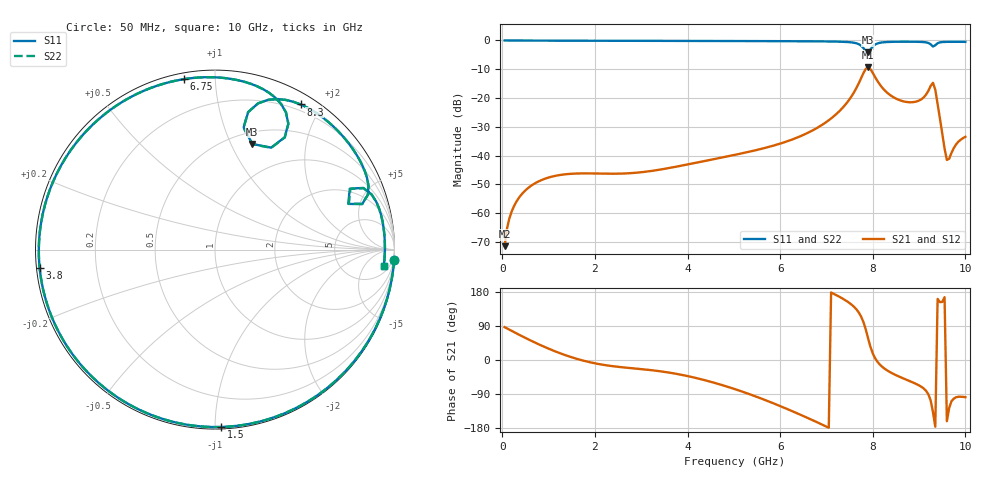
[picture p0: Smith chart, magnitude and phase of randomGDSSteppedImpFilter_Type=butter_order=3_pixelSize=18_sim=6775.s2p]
! freq	dB(S11)	phase(S11)	dB(S12)	phase(S12)
!  dB(S21)	phase(S21)	dB(S22)	phase(S22)
!S-par simulation data
#  GHz  S  DB  R 50
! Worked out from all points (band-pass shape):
!   200 points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, 50 MHz to 10 GHz, reference 50 ohm
!   highest |S21| = -9.36 dB at 7.9 GHz (marker M1); lowest = -71.5 dB at 50 MHz (marker M2)
!   |S21| within 3 dB of the highest: 7.77 GHz to 8.037 GHz (267.7 MHz wide, 3.39 % of centre)
!   lowest |S11| = -4.1 dB at 7.9 GHz (marker M3), VSWR 4.32, Z = 31.4 + j60.4 ohm
!   |S11| at or under -10 dB: nowhere
!   |S22| runs from -4.1 to 0.0 dB; largest |S21 - S12| = 0
!   S11 on the Smith chart (normalised r, x): 50 MHz: 0, -35; 1.5 GHz: 0.01, -1.04; 3.8 GHz: 0.01, -0.05; 6.75 GHz: 0.03, +0.84; 8.3 GHz: 0.13, +1.74; 10 GHz: 9, -15
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0.05  -0.00 -3.3  -71.52 86.7  -71.52 86.7  -0.00 -3.3
0.2  -0.02 -13.0  -59.57 77.0  -59.57 77.0  -0.02 -13.0
0.45  -0.04 -28.8  -52.91 61.2  -52.91 61.2  -0.04 -28.8
0.95  -0.07 -58.8  -47.90 32.5  -47.90 32.5  -0.07 -58.8
1.5  -0.10 -88.0  -46.34 7.1  -46.34 7.1  -0.10 -88.0
1.75  -0.11 -99.9  -46.22 -1.7  -46.22 -1.7  -0.11 -99.9
2.55  -0.13 -132.8  -46.30 -18.7  -46.30 -18.7  -0.13 -132.8
3.4  -0.14 -161.8  -44.92 -29.6  -44.92 -29.6  -0.14 -161.9
3.8  -0.16 -174.2  -43.75 -37.5  -43.75 -37.5  -0.16 -174.2
5.05  -0.20 149.9  -39.68 -78.0  -39.68 -78.0  -0.20 149.9
6.7  -0.30 101.8  -31.28 -158.8  -31.28 -158.8  -0.30 101.8
6.75  -0.31 100.2  -30.84 -161.5  -30.84 -161.5  -0.31 100.2
7.3  -0.43 81.5  -24.24 165.5  -24.24 165.5  -0.43 81.4
7.7  -1.31 62.7  -14.81 125.0  -14.81 125.0  -1.31 62.6
7.9  -4.10 70.5  -9.36 56.7  -9.36 56.7  -4.11 70.5
8.05  -1.42 73.6  -12.73 4.8  -12.73 4.8  -1.42 73.6
8.3  -0.55 59.5  -18.01 -26.7  -18.01 -26.7  -0.55 59.5
8.35  -0.51 57.1  -18.68 -30.4  -18.68 -30.4  -0.51 57.2
8.95  -0.47 32.0  -21.19 -64.0  -21.19 -64.0  -0.46 32.0
9.3  -2.10 18.9  -14.71 -137.7  -14.71 -137.7  -2.07 19.0
9.6  -0.49 11.5  -41.54 -161.5  -41.54 -161.5  -0.49 11.4
10  -0.49 -5.6  -33.49 -98.1  -33.49 -98.1  -0.49 -5.6
